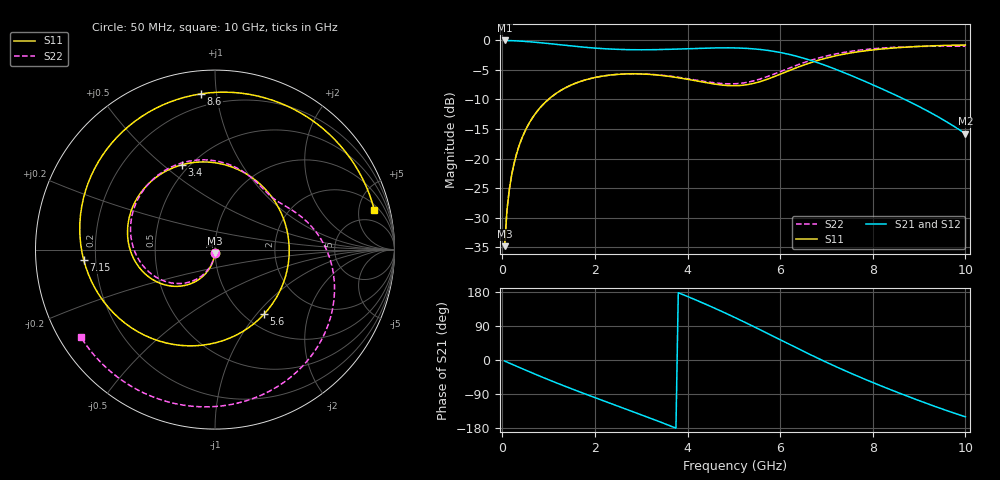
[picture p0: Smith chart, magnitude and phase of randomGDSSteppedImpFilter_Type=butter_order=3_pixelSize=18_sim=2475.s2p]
! freq	dB(S11)	phase(S11)	dB(S12)	phase(S12)
!  dB(S21)	phase(S21)	dB(S22)	phase(S22)
!S-par simulation data
#  GHz  S  DB  R 50
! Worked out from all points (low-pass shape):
!   200 points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, 50 MHz to 10 GHz, reference 50 ohm
!   highest |S21| = 0.00 dB at 50 MHz (marker M1); lowest = -15.8 dB at 10 GHz (marker M2)
!   |S21| within 3 dB of the highest: start of sweep to 6.505 GHz
!   lowest |S11| = -34.8 dB at 50 MHz (marker M3), VSWR 1.04, Z = 49.9 - j1.81 ohm
!   |S11| at or under -10 dB: start of sweep to 994.2 MHz
!   |S22| runs from -34.8 to -1.0 dB; largest |S21 - S12| = 0
!   S11 on the Smith chart (normalised r, x): 50 MHz: 1.00, -0.04; 3.4 GHz: 0.46, +0.58; 5.6 GHz: 1.21, -1.09; 7.15 GHz: 0.15, -0.04; 8.6 GHz: 0.13, +0.91; 10 GHz: 2.68, +7.22
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0.05  -34.84 -92.6  -0.00 -2.7  -0.00 -2.7  -34.84 -92.8
0.1  -28.84 -95.4  -0.01 -5.4  -0.01 -5.4  -28.84 -95.8
0.2  -22.88 -100.7  -0.04 -10.8  -0.04 -10.8  -22.88 -101.7
0.5  -15.21 -116.0  -0.17 -26.6  -0.17 -26.6  -15.21 -118.4
1.1  -9.33 -145.0  -0.61 -57.0  -0.61 -57.0  -9.32 -150.3
1.75  -6.79 -174.3  -1.13 -87.7  -1.13 -87.7  -6.78 177.5
2.55  -5.72 150.8  -1.53 -123.9  -1.53 -123.9  -5.71 140.2
3.4  -5.90 111.1  -1.55 -162.9  -1.55 -162.9  -5.86 102.2
3.85  -6.38 86.8  -1.44 175.2  -1.44 175.2  -6.30 83.1
4.25  -6.94 61.8  -1.33 154.7  -1.33 154.7  -6.80 67.6
4.65  -7.47 32.4  -1.26 133.2  -1.26 133.2  -7.24 54.2
5.05  -7.67 -1.8  -1.27 110.6  -1.27 110.6  -7.32 43.2
5.6  -6.90 -52.9  -1.56 77.9  -1.56 77.9  -6.45 28.5
6.15  -5.25 -101.3  -2.28 44.3  -2.28 44.3  -4.81 9.3
6.7  -3.66 -144.0  -3.48 11.3  -3.48 11.3  -3.28 -14.4
7.15  -2.69 -175.3  -4.74 -14.5  -4.74 -14.5  -2.37 -34.9
7.7  -1.90 149.3  -6.49 -44.1  -6.49 -44.1  -1.66 -59.2
8.35  -1.34 109.9  -8.74 -76.6  -8.74 -76.6  -1.21 -86.0
8.6  -1.20 95.1  -9.66 -88.6  -9.66 -88.6  -1.11 -95.7
9.25  -0.93 57.0  -12.23 -118.4  -12.23 -118.4  -0.98 -119.9
9.65  -0.82 33.9  -14.04 -135.7  -14.04 -135.7  -0.97 -134.3
10  -0.77 13.9  -15.80 -150.0  -15.80 -150.0  -0.99 -146.9
